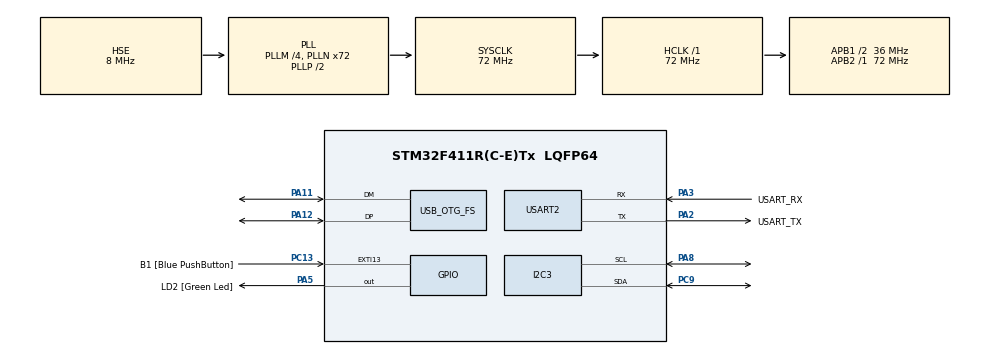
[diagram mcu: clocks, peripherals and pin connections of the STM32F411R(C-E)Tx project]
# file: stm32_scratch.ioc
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I2C3.I2C_Mode=I2C_Fast
Mcu.Family=STM32F4
Mcu.Name=STM32F411R(C-E)Tx
Mcu.Package=LQFP64
NVIC.OTG_FS_IRQn=true\:0\:0\:false\:false\:true\:false\:true\:true
NVIC.PriorityGroup=NVIC_PRIORITYGROUP_0
PA11.Mode=Device_Only
PA11.Signal=USB_OTG_FS_DM
PA12.Mode=Device_Only
PA12.Signal=USB_OTG_FS_DP
PA13.GPIO_Label=TMS
PA13.Mode=Serial_Wire
PA13.Signal=SYS_JTMS-SWDIO
PA14.GPIO_Label=TCK
PA14.Mode=Serial_Wire
PA14.Signal=SYS_JTCK-SWCLK
PA2.GPIO_Label=USART_TX
PA2.Mode=Asynchronous
PA2.Signal=USART2_TX
PA3.GPIO_Label=USART_RX
PA3.Mode=Asynchronous
PA3.Signal=USART2_RX
PA5.GPIO_Label=LD2 [Green Led]
PA5.Signal=GPIO_Output
PA8.Mode=I2C
PA8.Signal=I2C3_SCL
PB3.GPIO_Label=SWO
PB3.Signal=SYS_JTDO-SWO
PC13-ANTI_TAMP.GPIO_Label=B1 [Blue PushButton]
PC13-ANTI_TAMP.GPIO_ModeDefaultEXTI=GPIO_MODE_IT_FALLING
PC13-ANTI_TAMP.Signal=GPXTI13
PC14-OSC32_IN.Mode=LSE-External-Oscillator
PC14-OSC32_IN.Signal=RCC_OSC32_IN
PC15-OSC32_OUT.Mode=LSE-External-Oscillator
PC15-OSC32_OUT.Signal=RCC_OSC32_OUT
PC9.Mode=I2C
PC9.Signal=I2C3_SDA
PH0\ -\ OSC_IN.Mode=HSE-External-Clock-Source
PH0\ -\ OSC_IN.Signal=RCC_OSC_IN
PH1\ -\ OSC_OUT.Mode=HSE-External-Clock-Source
PH1\ -\ OSC_OUT.Signal=RCC_OSC_OUT
ProjectManager.HeapSize=0x200
ProjectManager.StackSize=0x400
ProjectManager.TargetToolchain=STM32CubeIDE
RCC.48MHZClocksFreq_Value=48000000
RCC.AHBFreq_Value=72000000
RCC.APB1CLKDivider=RCC_HCLK_DIV2
RCC.APB1Freq_Value=36000000
RCC.APB1TimFreq_Value=72000000
RCC.APB2Freq_Value=72000000
RCC.APB2TimFreq_Value=72000000
RCC.CortexFreq_Value=72000000
RCC.FLatency-AdvancedSettings=FLASH_LATENCY_2
RCC.HCLKFreq_Value=72000000
RCC.HSE_VALUE=8000000
RCC.HSI_VALUE=16000000
RCC.PLLM=4
RCC.PLLN=72
RCC.PLLQ=3
RCC.SYSCLKFreq_VALUE=72000000
RCC.SYSCLKSource=RCC_SYSCLKSOURCE_PLLCLK
RCC.VCOOutputFreq_Value=144000000
USART2.VirtualMode=VM_ASYNC
USB_DEVICE.CLASS_NAME_FS=HID
USB_DEVICE.VirtualMode=Hid
USB_DEVICE.VirtualModeFS=Hid_FS
USB_OTG_FS.VirtualMode=Device_Only
VP_USB_DEVICE_VS_USB_DEVICE_HID_FS.Mode=HID_FS
board=NUCLEO-F411RE

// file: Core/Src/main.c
/* USER CODE BEGIN Header */
/**
  ******************************************************************************
  * @file           : main.c
  * @brief          : Main program body
  ******************************************************************************
  * @attention
  *
  * Copyright (c) 2025 STMicroelectronics.
  * All rights reserved.
  *
  * This software is licensed under terms that can be found in the LICENSE file
  * in the root directory of this software component.
  * If no LICENSE file comes with this software, it is provided AS-IS.
  *
  ******************************************************************************
  */
/* USER CODE END Header */
#include "main.h"
#include "usb_device.h"

/* USER CODE BEGIN Includes */
#include "usbd_hid.h"
#include "ssd1306.h"
#include "ssd1306_fonts.h"

/* USER CODE END Includes */

I2C_HandleTypeDef hi2c3;

UART_HandleTypeDef huart2;

/* USER CODE BEGIN PV */
extern USBD_HandleTypeDef hUsbDeviceFS;
/* USER CODE END PV */

void SystemClock_Config(void);
static void MX_GPIO_Init(void);
static void MX_USART2_UART_Init(void);
static void MX_I2C3_Init(void);

int main(void)
{

  /* MCU Configuration--------------------------------------------------------*/

  /* Reset of all peripherals, Initializes the Flash interface and the Systick. */
  HAL_Init();

  /* Configure the system clock */
  SystemClock_Config();

  /* Initialize all configured peripherals */
  MX_GPIO_Init();
  MX_USART2_UART_Init();
  MX_USB_DEVICE_Init();
  MX_I2C3_Init();

  /* Infinite loop */
  /* USER CODE BEGIN WHILE */

  uint8_t mouse_report[4] = {0};  // buttons, X, Y, wheel

  HAL_Delay(100);

  ssd1306_Init();
  ssd1306_Fill(Black);
  ssd1306_SetCursor(0,0);
  ssd1306_WriteString("Hello World!", Font_11x18, White);
  ssd1306_UpdateScreen();

  while (1)
  {
    /* USER CODE END WHILE */

    /* USER CODE BEGIN 3 */
	// 1) Press left button
	mouse_report[0] = 0x01;       // bit0 = left button down
	mouse_report[1] = 0;          // no movement
	mouse_report[2] = 0;
	mouse_report[3] = 0;
	USBD_HID_SendReport(&hUsbDeviceFS, mouse_report, sizeof(mouse_report));
	HAL_Delay(100);               // hold click for 100 ms

	// 2) Release button
	mouse_report[0] = 0x00;       // all buttons up
	USBD_HID_SendReport(&hUsbDeviceFS, mouse_report, sizeof(mouse_report));

	// 3) Wait 5 seconds before next click
	HAL_Delay(5000 - 100);

	  //	  uint8_t report[8] = {0};  // [modifier, reserved, key1, key2, key3, key4, key5, key6]
//	  report[2] = 0x04;         // HID usage ID for 'a'
//
//	  USBD_HID_SendReport(&hUsbDeviceFS, report, sizeof(report));
//	  HAL_Delay(50);
//
//	  // Release key
//	  memset(report, 0, sizeof(report));
//	  USBD_HID_SendReport(&hUsbDeviceFS, report, sizeof(report));
//	  HAL_Delay(50);
  }
  /* USER CODE END 3 */
}

void SystemClock_Config(void)
{
  RCC_OscInitTypeDef RCC_OscInitStruct = {0};
  RCC_ClkInitTypeDef RCC_ClkInitStruct = {0};

  /** Configure the main internal regulator output voltage
  */
  __HAL_RCC_PWR_CLK_ENABLE();
  __HAL_PWR_VOLTAGESCALING_CONFIG(PWR_REGULATOR_VOLTAGE_SCALE1);

  /** Initializes the RCC Oscillators according to the specified parameters
  * in the RCC_OscInitTypeDef structure.
  */
  RCC_OscInitStruct.OscillatorType = RCC_OSCILLATORTYPE_HSE;
  RCC_OscInitStruct.HSEState = RCC_HSE_BYPASS;
  RCC_OscInitStruct.PLL.PLLState = RCC_PLL_ON;
  RCC_OscInitStruct.PLL.PLLSource = RCC_PLLSOURCE_HSE;
  RCC_OscInitStruct.PLL.PLLM = 4;
  RCC_OscInitStruct.PLL.PLLN = 72;
  RCC_OscInitStruct.PLL.PLLP = RCC_PLLP_DIV2;
  RCC_OscInitStruct.PLL.PLLQ = 3;
  if (HAL_RCC_OscConfig(&RCC_OscInitStruct) != HAL_OK)
  {
    Error_Handler();
  }

  /** Initializes the CPU, AHB and APB buses clocks
  */
  RCC_ClkInitStruct.ClockType = RCC_CLOCKTYPE_HCLK|RCC_CLOCKTYPE_SYSCLK
                              |RCC_CLOCKTYPE_PCLK1|RCC_CLOCKTYPE_PCLK2;
  RCC_ClkInitStruct.SYSCLKSource = RCC_SYSCLKSOURCE_PLLCLK;
  RCC_ClkInitStruct.AHBCLKDivider = RCC_SYSCLK_DIV1;
  RCC_ClkInitStruct.APB1CLKDivider = RCC_HCLK_DIV2;
  RCC_ClkInitStruct.APB2CLKDivider = RCC_HCLK_DIV1;

  if (HAL_RCC_ClockConfig(&RCC_ClkInitStruct, FLASH_LATENCY_2) != HAL_OK)
  {
    Error_Handler();
  }
}

static void MX_I2C3_Init(void)
{

  hi2c3.Instance = I2C3;
  hi2c3.Init.ClockSpeed = 400000;
  hi2c3.Init.DutyCycle = I2C_DUTYCYCLE_2;
  hi2c3.Init.OwnAddress1 = 0;
  hi2c3.Init.AddressingMode = I2C_ADDRESSINGMODE_7BIT;
  hi2c3.Init.DualAddressMode = I2C_DUALADDRESS_DISABLE;
  hi2c3.Init.OwnAddress2 = 0;
  hi2c3.Init.GeneralCallMode = I2C_GENERALCALL_DISABLE;
  hi2c3.Init.NoStretchMode = I2C_NOSTRETCH_DISABLE;
  if (HAL_I2C_Init(&hi2c3) != HAL_OK)
  {
    Error_Handler();
  }

}

static void MX_USART2_UART_Init(void)
{

  huart2.Instance = USART2;
  huart2.Init.BaudRate = 115200;
  huart2.Init.WordLength = UART_WORDLENGTH_8B;
  huart2.Init.StopBits = UART_STOPBITS_1;
  huart2.Init.Parity = UART_PARITY_NONE;
  huart2.Init.Mode = UART_MODE_TX_RX;
  huart2.Init.HwFlowCtl = UART_HWCONTROL_NONE;
  huart2.Init.OverSampling = UART_OVERSAMPLING_16;
  if (HAL_UART_Init(&huart2) != HAL_OK)
  {
    Error_Handler();
  }

}

static void MX_GPIO_Init(void)
{
  GPIO_InitTypeDef GPIO_InitStruct = {0};

  /* GPIO Ports Clock Enable */
  __HAL_RCC_GPIOC_CLK_ENABLE();
  __HAL_RCC_GPIOH_CLK_ENABLE();
  __HAL_RCC_GPIOA_CLK_ENABLE();
  __HAL_RCC_GPIOB_CLK_ENABLE();

  /*Configure GPIO pin Output Level */
  HAL_GPIO_WritePin(LD2_GPIO_Port, LD2_Pin, GPIO_PIN_RESET);

  /*Configure GPIO pin : B1_Pin */
  GPIO_InitStruct.Pin = B1_Pin;
  GPIO_InitStruct.Mode = GPIO_MODE_IT_FALLING;
  GPIO_InitStruct.Pull = GPIO_NOPULL;
  HAL_GPIO_Init(B1_GPIO_Port, &GPIO_InitStruct);

  /*Configure GPIO pin : LD2_Pin */
  GPIO_InitStruct.Pin = LD2_Pin;
  GPIO_InitStruct.Mode = GPIO_MODE_OUTPUT_PP;
  GPIO_InitStruct.Pull = GPIO_NOPULL;
  GPIO_InitStruct.Speed = GPIO_SPEED_FREQ_LOW;
  HAL_GPIO_Init(LD2_GPIO_Port, &GPIO_InitStruct);

}

void Error_Handler(void)
{
  __disable_irq();
  while (1)
  {
  }
}
